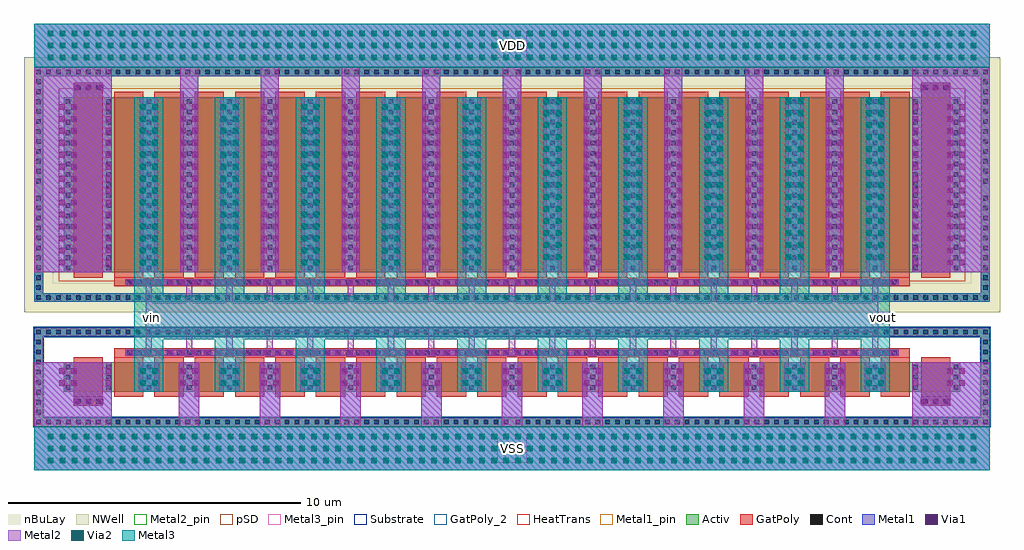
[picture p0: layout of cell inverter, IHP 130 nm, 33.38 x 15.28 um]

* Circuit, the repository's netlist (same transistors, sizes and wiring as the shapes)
* Extracted by KLayout with SG13G2 LVS runset on : 04/09/2026 14:30

.SUBCKT inverter VDD VSS vin vout
M$1 VSS VSS VSS VSS sg13_lv_nmos L=1u W=2u AS=0.53p AD=0.53p PS=4.06u PD=4.06u
+ rfmode=0
M$2 VSS vin vout VSS sg13_lv_nmos L=1u W=20u AS=3.8p AD=3.8p PS=27.6u PD=27.6u
+ rfmode=0
M$23 VDD VDD VDD VDD sg13_lv_pmos L=1u W=12u AS=3.18p AD=3.18p PS=19.06u
+ PD=19.06u rfmode=0
M$24 VDD vin vout VDD sg13_lv_pmos L=1u W=120u AS=22.8p AD=22.8p PS=127.6u
+ PD=127.6u rfmode=0
.ENDS inverter

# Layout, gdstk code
import gdstk
lib = gdstk.Library(unit=1e-6, precision=1e-09)
def R(c, l, rs):  # rectangles x0, y0, x1, y1
    for r in rs: c.add(gdstk.rectangle(r[:2], r[2:], *l))
def A(c, l, x, y, w, h, nx, ny, dx, dy):  # array of equal rectangles
    R(c, l, [(x+i*dx, y+j*dy, x+i*dx+w, y+j*dy+h) for i in range(nx) for j in range(ny)])
def P(c, l, *ps):  # polygons
    for p in ps: c.add(gdstk.Polygon(p, *l))
Activ = (1, 0)
GatPoly = (5, 0)
GatPoly_2 = (5, 2)
Cont = (6, 0)
Metal1 = (8, 0)
Metal1_pin = (8, 2)
Metal2 = (10, 0)
Metal2_pin = (10, 2)
pSD = (14, 0)
Via1 = (19, 0)
Via2 = (29, 0)
Metal3 = (30, 0)
Metal3_pin = (30, 2)
NWell = (31, 0)
nBuLay = (32, 0)
Substrate = (40, 0)
HeatTrans = (51, 0)

nmos = lib.new_cell('nmos')
A(nmos, Activ, 0, 0, 0.3, 0.3, 23, 1, 1.38, 0)
R(nmos, Activ, [(0,0,30.66,1)])
P(nmos, Activ, [(-1.01,-1.19),(-1.01,1.89),(-0.71,1.89),(-0.71,-0.89),(31.37,-0.89),(31.37,1.89),(-1.01,1.89),(-1.01,2.19),(31.67,2.19),(31.67,-1.19)])
A(nmos, GatPoly, 0.34, -0.18, 1, 1.36, 22, 1, 1.38, 0)
R(nmos, GatPoly_2, [(0.34,-0.18,1.34,1.18), (0.34,-0.18,1.34,1.18)])
A(nmos, Cont, -0.94, -1.12, 0.16, 0.16, 48, 2, 0.34, 3.08)
A(nmos, Cont, 15.46, -1.12, 0.16, 0.16, 48, 2, 0.34, 3.08)
A(nmos, Cont, -0.94, -0.78, 0.16, 0.16, 1, 4, 0, 0.34)
A(nmos, Cont, 31.44, -0.78, 0.16, 0.16, 1, 4, 0, 0.34)
A(nmos, Cont, 0.07, 0.07, 0.16, 0.16, 23, 3, 1.38, 0.35)
A(nmos, Cont, -0.94, 0.6, 0.16, 0.16, 1, 4, 0, 0.34)
A(nmos, Cont, 31.44, 0.6, 0.16, 0.16, 1, 4, 0, 0.34)
A(nmos, Metal1, 0.07, 0, 0.16, 1, 23, 1, 1.38, 0)
R(nmos, Metal1, [(-1.01,-1.19,31.67,-0.89), (-1.01,-0.89,-0.71,1.89), (31.37,-0.89,31.67,1.89), (-1.01,1.89,31.67,2.19)])
R(nmos, Metal1_pin, [(0.07,0,0.23,1), (0.07,0,0.23,1), (1.45,0,1.61,1), (1.45,0,1.61,1)])
P(nmos, pSD, [(-1.04,-1.22),(-1.04,1.86),(-0.68,1.86),(-0.68,-0.86),(31.34,-0.86),(31.34,1.86),(-1.04,1.86),(-1.04,2.22),(31.7,2.22),(31.7,-1.22)])
P(nmos, Substrate, [(-1.04,-1.22),(-1.04,1.86),(-0.68,1.86),(-0.68,-0.86),(31.34,-0.86),(31.34,1.86),(-1.04,1.86),(-1.04,2.22),(31.7,2.22),(31.7,-1.22)])
A(nmos, HeatTrans, 0.34, -0.18, 1, 1.36, 22, 1, 1.38, 0)
nmos.add(gdstk.Label('nmos', (0.84,0.5), layer=63, texttype=0))
nmos.add(gdstk.Label('sub!', (15.33,-1.04), layer=63, texttype=0))
nmos.add(gdstk.Label('nmos', (0.84,0.5), layer=51, texttype=0))
nmos.add(gdstk.Label('nmos', (2.22,0.5), layer=51, texttype=0))
nmos.add(gdstk.Label('nmos', (3.6,0.5), layer=51, texttype=0))
nmos.add(gdstk.Label('nmos', (4.98,0.5), layer=51, texttype=0))
nmos.add(gdstk.Label('nmos', (6.36,0.5), layer=51, texttype=0))
nmos.add(gdstk.Label('nmos', (7.74,0.5), layer=51, texttype=0))
nmos.add(gdstk.Label('nmos', (9.12,0.5), layer=51, texttype=0))
nmos.add(gdstk.Label('nmos', (10.5,0.5), layer=51, texttype=0))
nmos.add(gdstk.Label('nmos', (11.88,0.5), layer=51, texttype=0))
nmos.add(gdstk.Label('nmos', (13.26,0.5), layer=51, texttype=0))
nmos.add(gdstk.Label('nmos', (14.64,0.5), layer=51, texttype=0))
nmos.add(gdstk.Label('nmos', (16.02,0.5), layer=51, texttype=0))
nmos.add(gdstk.Label('nmos', (17.4,0.5), layer=51, texttype=0))
nmos.add(gdstk.Label('nmos', (18.78,0.5), layer=51, texttype=0))
nmos.add(gdstk.Label('nmos', (20.16,0.5), layer=51, texttype=0))
nmos.add(gdstk.Label('nmos', (21.54,0.5), layer=51, texttype=0))
nmos.add(gdstk.Label('nmos', (22.92,0.5), layer=51, texttype=0))
nmos.add(gdstk.Label('nmos', (24.3,0.5), layer=51, texttype=0))
nmos.add(gdstk.Label('nmos', (25.68,0.5), layer=51, texttype=0))
nmos.add(gdstk.Label('nmos', (27.06,0.5), layer=51, texttype=0))
nmos.add(gdstk.Label('nmos', (28.44,0.5), layer=51, texttype=0))
nmos.add(gdstk.Label('nmos', (29.82,0.5), layer=51, texttype=0))
nmos.add(gdstk.Label('sub!', (15.33,-1.04), layer=40, texttype=0))

via_stack = lib.new_cell('via_stack')
R(via_stack, Metal1, [(-0.35,-0.31,0.35,0.31)])
R(via_stack, Metal2, [(-0.35,-0.305,0.35,0.305)])
R(via_stack, Via1, [(-0.3,-0.3,-0.11,-0.11), (0.11,-0.3,0.3,-0.11), (-0.3,0.11,-0.11,0.3), (0.11,0.11,0.3,0.3)])

via_stack_1 = lib.new_cell('via_stack$1')
R(via_stack_1, Metal1, [(-0.105,-0.35,0.105,0.35)])
R(via_stack_1, Metal2, [(-0.1,-0.35,0.1,0.35)])
R(via_stack_1, Via1, [(-0.095,-0.3,0.095,-0.11), (-0.095,0.11,0.095,0.3)])

via_stack_2 = lib.new_cell('via_stack$2')
R(via_stack_2, Metal1, [(-0.35,-0.31,0.35,0.31)])
R(via_stack_2, Metal2, [(-0.35,-0.305,0.35,0.305)])
R(via_stack_2, Via1, [(-0.3,-0.3,-0.11,-0.11), (0.11,-0.3,0.3,-0.11), (-0.3,0.11,-0.11,0.3), (0.11,0.11,0.3,0.3)])
R(via_stack_2, Via2, [(-0.3,-0.3,-0.11,-0.11), (0.11,-0.3,0.3,-0.11), (-0.3,0.11,-0.11,0.3), (0.11,0.11,0.3,0.3)])
R(via_stack_2, Metal3, [(-0.35,-0.305,0.35,0.305)])

via_stack_3 = lib.new_cell('via_stack$3')
R(via_stack_3, GatPoly, [(-13.24,-0.15,13.24,0.15)])
A(via_stack_3, Cont, -13.17, -0.08, 0.16, 0.16, 78, 1, 0.34, 0)
R(via_stack_3, Metal1, [(-13.22,-0.08,13.22,0.08)])

via_stack_4 = lib.new_cell('via_stack$4')
R(via_stack_4, Metal1, [(-13.06,-0.105,13.06,0.105)])
R(via_stack_4, Metal2, [(-13.06,-0.1,13.06,0.1)])
A(via_stack_4, Via1, -13.01, -0.095, 0.19, 0.19, 64, 1, 0.41, 0)

via_stack_5 = lib.new_cell('via_stack$5')
R(via_stack_5, GatPoly, [(-0.49,-0.15,0.49,0.15)])
A(via_stack_5, Cont, -0.42, -0.08, 0.16, 0.16, 3, 1, 0.34, 0)
R(via_stack_5, Metal1, [(-0.555,-0.105,0.555,0.105)])
R(via_stack_5, Metal2, [(-0.555,-0.1,0.555,0.1)])
A(via_stack_5, Via1, -0.505, -0.095, 0.19, 0.19, 3, 1, 0.41, 0)

pmos = lib.new_cell('pmos')
A(pmos, Activ, 0, 0, 0.3, 0.3, 23, 1, 1.38, 0)
R(pmos, Activ, [(0,0,30.66,6)])
P(pmos, Activ, [(-1.01,-1.01),(-1.01,6.71),(-0.71,6.71),(-0.71,-0.71),(31.37,-0.71),(31.37,6.71),(-1.01,6.71),(-1.01,7.01),(31.67,7.01),(31.67,-1.01)])
A(pmos, GatPoly, 0.34, -0.18, 1, 6.36, 22, 1, 1.38, 0)
R(pmos, GatPoly, [(0.34,-0.18,1.34,6.18), (0.34,-0.18,1.34,6.18)])
A(pmos, Cont, -0.94, -0.94, 0.16, 0.16, 48, 2, 0.34, 7.72)
A(pmos, Cont, 15.46, -0.94, 0.16, 0.16, 48, 2, 0.34, 7.72)
A(pmos, Cont, -0.94, -0.6, 0.16, 0.16, 1, 10, 0, 0.34)
A(pmos, Cont, 31.44, -0.6, 0.16, 0.16, 1, 10, 0, 0.34)
A(pmos, Cont, 0.07, 0.07, 0.16, 0.16, 23, 4, 1.38, 0.355)
A(pmos, Cont, 0.07, 1.495, 0.16, 0.16, 23, 4, 1.38, 0.355)
A(pmos, Cont, 0.07, 2.92, 0.16, 0.16, 23, 4, 1.38, 0.355)
A(pmos, Cont, -0.94, 3.04, 0.16, 0.16, 1, 11, 0, 0.34)
A(pmos, Cont, 31.44, 3.04, 0.16, 0.16, 1, 11, 0, 0.34)
A(pmos, Cont, 0.07, 4.345, 0.16, 0.16, 23, 4, 1.38, 0.355)
A(pmos, Cont, 0.07, 5.77, 0.16, 0.16, 23, 1, 1.38, 0)
A(pmos, Metal1, 1.45, 0, 0.16, 6, 22, 1, 1.38, 0)
R(pmos, Metal1, [(-1.01,-1.01,31.67,-0.71), (-1.01,-0.71,-0.71,6.71), (31.37,-0.71,31.67,6.71), (0.07,0,0.23,6), (0.07,0,0.23,6), (0.07,0,0.23,6), (1.45,0,1.61,6), (1.45,0,1.61,6), (-1.01,6.71,31.67,7.01)])
R(pmos, pSD, [(-0.18,-0.3,30.84,6.3)])
R(pmos, NWell, [(-1.36,-1.36,32.02,7.36), (-0.31,-0.31,30.97,6.31)])
P(pmos, nBuLay, [(-1.36,-1.36),(-1.36,6.36),(-0.36,6.36),(-0.36,-0.36),(31.02,-0.36),(31.02,6.36),(-1.36,6.36),(-1.36,7.36),(32.02,7.36),(32.02,-1.36)])
A(pmos, HeatTrans, 0.34, -0.18, 1, 6.36, 22, 1, 1.38, 0)
pmos.add(gdstk.Label('pmos', (0.84,3), layer=63, texttype=0))
pmos.add(gdstk.Label('well', (15.33,-0.86), layer=63, texttype=0))
pmos.add(gdstk.Label('pmos', (0.84,3), layer=51, texttype=0))
pmos.add(gdstk.Label('pmos', (2.22,3), layer=51, texttype=0))
pmos.add(gdstk.Label('pmos', (3.6,3), layer=51, texttype=0))
pmos.add(gdstk.Label('pmos', (4.98,3), layer=51, texttype=0))
pmos.add(gdstk.Label('pmos', (6.36,3), layer=51, texttype=0))
pmos.add(gdstk.Label('pmos', (7.74,3), layer=51, texttype=0))
pmos.add(gdstk.Label('pmos', (9.12,3), layer=51, texttype=0))
pmos.add(gdstk.Label('pmos', (10.5,3), layer=51, texttype=0))
pmos.add(gdstk.Label('pmos', (11.88,3), layer=51, texttype=0))
pmos.add(gdstk.Label('pmos', (13.26,3), layer=51, texttype=0))
pmos.add(gdstk.Label('pmos', (14.64,3), layer=51, texttype=0))
pmos.add(gdstk.Label('pmos', (16.02,3), layer=51, texttype=0))
pmos.add(gdstk.Label('pmos', (17.4,3), layer=51, texttype=0))
pmos.add(gdstk.Label('pmos', (18.78,3), layer=51, texttype=0))
pmos.add(gdstk.Label('pmos', (20.16,3), layer=51, texttype=0))
pmos.add(gdstk.Label('pmos', (21.54,3), layer=51, texttype=0))
pmos.add(gdstk.Label('pmos', (22.92,3), layer=51, texttype=0))
pmos.add(gdstk.Label('pmos', (24.3,3), layer=51, texttype=0))
pmos.add(gdstk.Label('pmos', (25.68,3), layer=51, texttype=0))
pmos.add(gdstk.Label('pmos', (27.06,3), layer=51, texttype=0))
pmos.add(gdstk.Label('pmos', (28.44,3), layer=51, texttype=0))
pmos.add(gdstk.Label('pmos', (29.82,3), layer=51, texttype=0))
pmos.add(gdstk.Label('well', (15.33,3), layer=31, texttype=0))

via_stack_6 = lib.new_cell('via_stack$6')
R(via_stack_6, Metal1, [(-0.31,-2.81,0.31,2.81)])
R(via_stack_6, Metal2, [(-0.305,-2.81,0.305,2.81)])
A(via_stack_6, Via1, -0.3, -2.76, 0.19, 0.19, 1, 14, 0, 0.41)
A(via_stack_6, Via1, 0.11, -2.76, 0.19, 0.19, 1, 14, 0, 0.41)

via_stack_7 = lib.new_cell('via_stack$7')
R(via_stack_7, Metal1, [(-0.105,-2.81,0.105,2.81)])
R(via_stack_7, Metal2, [(-0.1,-2.81,0.1,2.81)])
A(via_stack_7, Via1, -0.095, -2.76, 0.19, 0.19, 1, 14, 0, 0.41)

via_stack_8 = lib.new_cell('via_stack$8')
R(via_stack_8, Metal1, [(-0.31,-2.81,0.31,2.81)])
R(via_stack_8, Metal2, [(-0.305,-2.81,0.305,2.81)])
A(via_stack_8, Via1, -0.3, -2.76, 0.19, 0.19, 1, 14, 0, 0.41)
A(via_stack_8, Via1, 0.11, -2.76, 0.19, 0.19, 1, 14, 0, 0.41)
A(via_stack_8, Via2, -0.3, -2.76, 0.19, 0.19, 1, 14, 0, 0.41)
A(via_stack_8, Via2, 0.11, -2.76, 0.19, 0.19, 1, 14, 0, 0.41)
R(via_stack_8, Metal3, [(-0.305,-2.81,0.305,2.81)])

via_stack_9 = lib.new_cell('via_stack$9')
R(via_stack_9, Metal1, [(-15.93,-0.515,15.93,0.515)])
R(via_stack_9, Metal2, [(-15.93,-0.51,15.93,0.51)])
A(via_stack_9, Via1, -15.88, -0.505, 0.19, 0.19, 78, 3, 0.41, 0.41)
A(via_stack_9, Via2, -15.88, -0.505, 0.19, 0.19, 78, 3, 0.41, 0.41)
R(via_stack_9, Metal3, [(-15.93,-0.51,15.93,0.51)])

inverter = lib.new_cell('inverter')
R(inverter, GatPoly, [(1.7,2.21,2.7,2.51), (30.68,2.21,31.68,2.51), (3.08,3.87,30.3,4.17), (3.08,6.29,30.3,6.59), (1.7,12.95,2.7,13.25), (30.68,12.95,31.68,13.25)])
A(inverter, Metal1, 5.3, 1.5, 0.7, 2.19, 9, 1, 2.76, 0)
A(inverter, Metal1, 3.92, 2.69, 0.7, 1, 10, 1, 2.76, 0)
A(inverter, Metal1, 3.96, 6.77, 0.62, 6, 10, 1, 2.76, 0)
A(inverter, Metal1, 5.34, 6.77, 0.62, 7.01, 9, 1, 2.76, 0)
R(inverter, Metal1, [(0.35,0,33.03,1.5), (0.35,1.5,2.995,3.69), (30.385,1.5,33.03,3.69), (3.47,3.915,29.91,4.125), (3.47,6.335,29.91,6.545), (0.35,6.77,2.995,13.78), (30.385,6.77,33.03,13.78), (0.35,13.78,33.03,15.28)])
A(inverter, Metal2, 5.3, 1.5, 0.7, 2.19, 9, 1, 2.76, 0)
A(inverter, Metal2, 3.92, 2.69, 0.7, 1, 10, 1, 2.76, 0)
A(inverter, Metal2, 4.165, 4.12, 0.21, 2.22, 19, 1, 1.38, 0)
A(inverter, Metal2, 3.96, 6.77, 0.62, 6, 10, 1, 2.76, 0)
A(inverter, Metal2, 5.34, 6.77, 0.62, 7.01, 9, 1, 2.76, 0)
R(inverter, Metal2, [(0.35,0,33.03,1.5), (0.35,1.5,2.995,3.69), (30.385,1.5,33.03,3.69), (3.47,3.915,29.91,4.125), (4.165,4.73,29.215,5.73), (3.47,6.335,29.91,6.545), (0.35,6.77,2.995,13.78), (30.385,6.77,33.03,13.78), (0.35,13.78,33.03,15.28)])
R(inverter, Metal2_pin, [(4.165,5.03,4.565,5.43)])
A(inverter, Metal3, 3.77, 2.69, 1, 10.08, 10, 1, 2.76, 0)
R(inverter, Metal3, [(0.35,0,33.03,1.5), (3.77,4.48,29.61,5.98), (0.35,13.78,33.03,15.28)])
R(inverter, Metal3_pin, [(16.19,0.26,17.19,1.26), (29.21,5.03,29.61,5.43), (16.2,14.03,17.2,15.03)])
inverter.add(gdstk.Reference(nmos, (1.36,2.69)))
inverter.add(gdstk.Reference(via_stack, (1.51,3.19)))
inverter.add(gdstk.Reference(via_stack, (31.87,3.19)))
inverter.add(gdstk.Reference(via_stack_1, (2.89,3.19)))
inverter.add(gdstk.Reference(via_stack_1, (30.49,3.19)))
inverter.add(gdstk.Reference(via_stack, (5.65,3.19)))
inverter.add(gdstk.Reference(via_stack, (8.41,3.19)))
inverter.add(gdstk.Reference(via_stack, (11.17,3.19)))
inverter.add(gdstk.Reference(via_stack, (13.93,3.19)))
inverter.add(gdstk.Reference(via_stack, (16.69,3.19)))
inverter.add(gdstk.Reference(via_stack, (19.45,3.19)))
inverter.add(gdstk.Reference(via_stack, (22.21,3.19)))
inverter.add(gdstk.Reference(via_stack, (24.97,3.19)))
inverter.add(gdstk.Reference(via_stack, (27.73,3.19)))
inverter.add(gdstk.Reference(via_stack_2, (4.27,3.19)))
inverter.add(gdstk.Reference(via_stack_2, (7.03,3.19)))
inverter.add(gdstk.Reference(via_stack_2, (9.79,3.19)))
inverter.add(gdstk.Reference(via_stack_2, (12.55,3.19)))
inverter.add(gdstk.Reference(via_stack_2, (15.31,3.19)))
inverter.add(gdstk.Reference(via_stack_2, (18.07,3.19)))
inverter.add(gdstk.Reference(via_stack_2, (20.83,3.19)))
inverter.add(gdstk.Reference(via_stack_2, (23.59,3.19)))
inverter.add(gdstk.Reference(via_stack_2, (26.35,3.19)))
inverter.add(gdstk.Reference(via_stack_2, (29.11,3.19)))
inverter.add(gdstk.Reference(via_stack_3, (16.69,4.02)))
inverter.add(gdstk.Reference(via_stack_4, (16.69,4.02)))
inverter.add(gdstk.Reference(via_stack_5, (2.2,2.36)))
inverter.add(gdstk.Reference(via_stack_5, (31.18,2.36)))
inverter.add(gdstk.Reference(pmos, (1.36,6.77)))
inverter.add(gdstk.Reference(via_stack_6, (1.51,9.77)))
inverter.add(gdstk.Reference(via_stack_6, (31.87,9.77)))
inverter.add(gdstk.Reference(via_stack_7, (2.89,9.77)))
inverter.add(gdstk.Reference(via_stack_7, (30.49,9.77)))
inverter.add(gdstk.Reference(via_stack_6, (5.65,9.77)))
inverter.add(gdstk.Reference(via_stack_6, (8.41,9.77)))
inverter.add(gdstk.Reference(via_stack_6, (11.17,9.77)))
inverter.add(gdstk.Reference(via_stack_6, (13.93,9.77)))
inverter.add(gdstk.Reference(via_stack_6, (16.69,9.77)))
inverter.add(gdstk.Reference(via_stack_6, (19.45,9.77)))
inverter.add(gdstk.Reference(via_stack_6, (22.21,9.77)))
inverter.add(gdstk.Reference(via_stack_6, (24.97,9.77)))
inverter.add(gdstk.Reference(via_stack_6, (27.73,9.77)))
inverter.add(gdstk.Reference(via_stack_8, (4.27,9.77)))
inverter.add(gdstk.Reference(via_stack_8, (7.03,9.77)))
inverter.add(gdstk.Reference(via_stack_8, (9.79,9.77)))
inverter.add(gdstk.Reference(via_stack_8, (12.55,9.77)))
inverter.add(gdstk.Reference(via_stack_8, (15.31,9.77)))
inverter.add(gdstk.Reference(via_stack_8, (18.07,9.96)))
inverter.add(gdstk.Reference(via_stack_8, (20.83,9.96)))
inverter.add(gdstk.Reference(via_stack_8, (23.59,9.96)))
inverter.add(gdstk.Reference(via_stack_8, (26.35,9.96)))
inverter.add(gdstk.Reference(via_stack_8, (29.11,9.96)))
inverter.add(gdstk.Reference(via_stack_3, (16.69,6.44)))
inverter.add(gdstk.Reference(via_stack_4, (16.69,6.44)))
inverter.add(gdstk.Reference(via_stack_5, (2.2,13.1)))
inverter.add(gdstk.Reference(via_stack_5, (31.18,13.1)))
inverter.add(gdstk.Reference(via_stack_9, (16.69,0.75)))
inverter.add(gdstk.Reference(via_stack_9, (16.69,14.53)))
inverter.add(gdstk.Label('vin', (4.365,5.23), layer=10, texttype=25))
inverter.add(gdstk.Label('vout', (29.41,5.23), layer=30, texttype=25))
inverter.add(gdstk.Label('VSS', (16.69,0.76), layer=30, texttype=25))
inverter.add(gdstk.Label('VDD', (16.7,14.53), layer=30, texttype=25))

lib.write_gds('inverter.gds')
